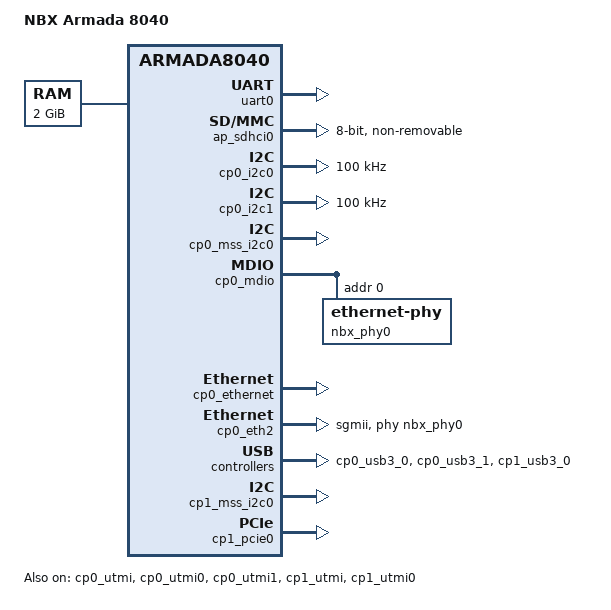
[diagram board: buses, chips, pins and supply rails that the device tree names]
// SPDX-License-Identifier: GPL-2.0+
/*
 * Device Tree file for NBX board (Freebox Nodebox10G)
 * Based on Marvell Armada 8040 SoC
 *
 * Copyright (C) 2024
 */

#include "armada-8040.dtsi"

/ {
	model = "NBX Armada 8040";
	compatible = "nbx,armada8040", "marvell,armada8040";

	chosen {
		stdout-path = "serial0:115200n8";
	};

	aliases {
		i2c0 = &cp0_i2c0;
		i2c1 = &cp0_i2c1;
		gpio0 = &ap_gpio0;
		gpio1 = &cp0_gpio0;
		gpio2 = &cp0_gpio1;
	};

	memory@00000000 {
		device_type = "memory";
		reg = <0x0 0x0 0x0 0x80000000>;  /* 2GB */
	};
};

/* AP806 UART - active */
&uart0 {
	status = "okay";
};

/* AP806 pinctrl */
&ap_pinctl {
	/*
	 * MPP Bus:
	 * eMMC  [0-10]
	 * UART0 [11,19]
	 */
		  /* 0 1 2 3 4 5 6 7 8 9 */
	pin-func = < 1 1 1 1 1 1 1 1 1 1
		     1 3 0 0 0 0 0 0 0 3 >;
};

/* AP806 on-board eMMC */
&ap_sdhci0 {
	pinctrl-names = "default";
	pinctrl-0 = <&ap_emmc_pins>;
	bus-width = <8>;
	non-removable;
	status = "okay";
};

/* CP0 pinctrl */
&cp0_pinctl {
	/*
	 * MPP Bus:
	 * [0-31]  = 0xff: Keep default CP0_shared_pins
	 * [32,34] GE_MDIO/MDC
	 * [35-36] I2C1
	 * [37-38] I2C0
	 * [57-58] MSS I2C
	 */
		/*   0    1    2    3    4    5    6    7    8    9 */
	pin-func = < 0xff 0xff 0xff 0xff 0xff 0xff 0xff 0xff 0xff 0xff
		     0xff 0xff 0xff 0xff 0xff 0xff 0xff 0xff 0xff 0xff
		     0xff 0xff 0xff 0xff 0xff 0xff 0xff 0xff 0xff 0xff
		     0xff 0xff 7    0    7    2    2    2    2    0
		     0    0    0    0    0    0    0    0    0    0
		     0    0    0    0    0    0    0    2    2    0
		     0    0    0 >;

	cp0_smi_pins: cp0-smi-pins {
		marvell,pins = <32 34>;
		marvell,function = <7>;
	};
};

/* CP0 I2C0 */
&cp0_i2c0 {
	pinctrl-names = "default";
	pinctrl-0 = <&cp0_i2c0_pins>;
	status = "okay";
	clock-frequency = <100000>;
};

/* CP0 I2C1 */
&cp0_i2c1 {
	pinctrl-names = "default";
	pinctrl-0 = <&cp0_i2c1_pins>;
	status = "okay";
	clock-frequency = <100000>;
};

/* CP0 MSS I2C0 - Management SubSystem I2C (pins 57-58, func 2) */
&cp0_mss_i2c0 {
	status = "okay";
};

/* CP0 MDIO for PHY */
&cp0_mdio {
	status = "okay";
	pinctrl-names = "default";
	pinctrl-0 = <&cp0_smi_pins>;

	nbx_phy0: ethernet-phy@0 {
		reg = <0>;
	};
};

/* CP0 ComPhy - SerDes configuration */
&cp0_comphy {
	/*
	 * CP0 Serdes Configuration:
	 * Lane 0-3: Unconnected
	 * Lane 4:   SFI (10G Ethernet)
	 * Lane 5:   SGMII2 (1G Ethernet)
	 */
	phy0 {
		phy-type = <COMPHY_TYPE_UNCONNECTED>;
	};
	phy1 {
		phy-type = <COMPHY_TYPE_UNCONNECTED>;
	};
	phy2 {
		phy-type = <COMPHY_TYPE_UNCONNECTED>;
	};
	phy3 {
		phy-type = <COMPHY_TYPE_UNCONNECTED>;
	};
	phy4 {
		phy-type = <COMPHY_TYPE_SFI0>;
		phy-speed = <COMPHY_SPEED_10_3125G>;
	};
	phy5 {
		phy-type = <COMPHY_TYPE_SGMII2>;
		phy-speed = <COMPHY_SPEED_1_25G>;
	};
};

/* CP0 Ethernet - only eth2 (MAC3) is active via SGMII */
&cp0_ethernet {
	status = "okay";
};

&cp0_eth2 {
	status = "okay";
	phy = <&nbx_phy0>;
	phy-mode = "sgmii";
};

/* CP0 UTMI PHY for USB */
&cp0_utmi {
	status = "okay";
};

&cp0_utmi0 {
	status = "okay";
};

&cp0_utmi1 {
	status = "okay";
};

/* CP0 USB3 Host controllers */
&cp0_usb3_0 {
	status = "okay";
};

&cp0_usb3_1 {
	status = "okay";
};

/* CP1 pinctrl */
&cp1_pinctl {
	/*
	 * MPP Bus:
	 * [0-26]  = Unconfigured
	 * [27-28] GE_MDIO/MDC
	 * [29-30] MSS I2C
	 * [31]    = Unconfigured
	 * [32-62] = 0xff: Keep default CP1_shared_pins
	 */
		/*   0    1    2    3    4    5    6    7    8    9 */
	pin-func = < 0x0  0x0  0x0  0x0  0x0  0x0  0x0  0x0  0x0  0x0
		     0x0  0x0  0x0  0x0  0x0  0x0  0x0  0x0  0x0  0x0
		     0x0  0x0  0x0  0x0  0x0  0x0  0x0  0x8  0x8  0x8
		     0x8  0x0  0xff 0xff 0xff 0xff 0xff 0xff 0xff 0xff
		     0xff 0xff 0xff 0xff 0xff 0xff 0xff 0xff 0xff 0xff
		     0xff 0xff 0xff 0xff 0xff 0xff 0xff 0xff 0xff 0xff
		     0xff 0xff 0xff>;

	cp1_mss_i2c_pins: cp1-mss-i2c-pins {
		marvell,pins = <29 30>;
		marvell,function = <8>;
	};
};

/* CP1 MSS I2C0 - Management SubSystem I2C (pins 29-30, func 8) */
&cp1_mss_i2c0 {
	status = "okay";
	pinctrl-names = "default";
	pinctrl-0 = <&cp1_mss_i2c_pins>;
};

/* CP1 ComPhy - SerDes configuration */
&cp1_comphy {
	/*
	 * CP1 Serdes Configuration:
	 * Lane 0:   PCIe x1
	 * Lane 1:   USB3 Host
	 * Lane 2-3: Unconnected
	 * Lane 4:   SFI (10G Ethernet)
	 * Lane 5:   Unconnected
	 */
	phy0 {
		phy-type = <COMPHY_TYPE_PEX0>;
	};
	phy1 {
		phy-type = <COMPHY_TYPE_USB3_HOST0>;
	};
	phy2 {
		phy-type = <COMPHY_TYPE_UNCONNECTED>;
	};
	phy3 {
		phy-type = <COMPHY_TYPE_UNCONNECTED>;
	};
	phy4 {
		phy-type = <COMPHY_TYPE_SFI0>;
		phy-speed = <COMPHY_SPEED_10_3125G>;
	};
	phy5 {
		phy-type = <COMPHY_TYPE_UNCONNECTED>;
	};
};

/* CP1 PCIe x1 on lane 0 */
&cp1_pcie0 {
	status = "okay";
};

/* CP1 USB3 Host on lane 1 */
&cp1_usb3_0 {
	status = "okay";
};

/* CP1 UTMI PHY for USB */
&cp1_utmi {
	status = "okay";
};

&cp1_utmi0 {
	status = "okay";
};
